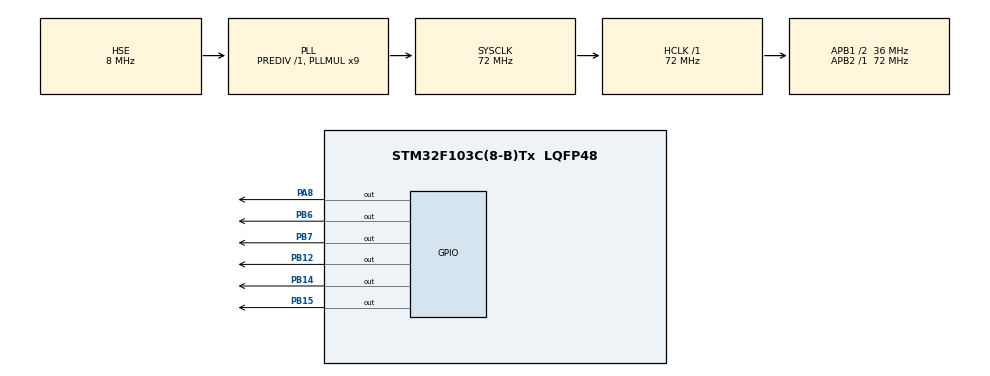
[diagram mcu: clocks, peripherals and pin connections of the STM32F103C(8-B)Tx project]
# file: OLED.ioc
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Mcu.Family=STM32F1
Mcu.Name=STM32F103C(8-B)Tx
Mcu.Package=LQFP48
NVIC.PriorityGroup=NVIC_PRIORITYGROUP_4
PA13.Mode=Serial_Wire
PA13.Signal=SYS_JTMS-SWDIO
PA14.Mode=Serial_Wire
PA14.Signal=SYS_JTCK-SWCLK
PA8.Signal=GPIO_Output
PB12.Signal=GPIO_Output
PB14.Signal=GPIO_Output
PB15.Signal=GPIO_Output
PB6.GPIO_ModeDefaultOutputPP=GPIO_MODE_OUTPUT_OD
PB6.GPIO_PuPd=GPIO_PULLUP
PB6.GPIO_Speed=GPIO_SPEED_FREQ_HIGH
PB6.Signal=GPIO_Output
PB7.GPIO_ModeDefaultOutputPP=GPIO_MODE_OUTPUT_OD
PB7.GPIO_PuPd=GPIO_PULLUP
PB7.GPIO_Speed=GPIO_SPEED_FREQ_HIGH
PB7.Signal=GPIO_Output
PD0-OSC_IN.Mode=HSE-External-Oscillator
PD0-OSC_IN.Signal=RCC_OSC_IN
PD1-OSC_OUT.Mode=HSE-External-Oscillator
PD1-OSC_OUT.Signal=RCC_OSC_OUT
ProjectManager.HeapSize=0x200
ProjectManager.StackSize=0x400
ProjectManager.TargetToolchain=CMake
RCC.AHBFreq_Value=72000000
RCC.APB1CLKDivider=RCC_HCLK_DIV2
RCC.APB1Freq_Value=36000000
RCC.APB1TimFreq_Value=72000000
RCC.APB2Freq_Value=72000000
RCC.APB2TimFreq_Value=72000000
RCC.HCLKFreq_Value=72000000
RCC.PLLMUL=RCC_PLL_MUL9
RCC.PLLSourceVirtual=RCC_PLLSOURCE_HSE
RCC.SYSCLKFreq_VALUE=72000000
RCC.SYSCLKSource=RCC_SYSCLKSOURCE_PLLCLK
RCC.USBFreq_Value=72000000
board=custom

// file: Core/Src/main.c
/* USER CODE BEGIN Header */
/**
  ******************************************************************************
  * @file           : main.c
  * @brief          : Main program body
  ******************************************************************************
  * @attention
  *
  * Copyright (c) 2026 STMicroelectronics.
  * All rights reserved.
  *
  * This software is licensed under terms that can be found in the LICENSE file
  * in the root directory of this software component.
  * If no LICENSE file comes with this software, it is provided AS-IS.
  *
  ******************************************************************************
  */
/* USER CODE END Header */
#include "main.h"
#include "gpio.h"

/* USER CODE BEGIN Includes */
#include "oled.h"
/* USER CODE END Includes */

void SystemClock_Config(void);

/* USER CODE BEGIN 0 */
// ==================== 汉字字模数据 ====================
// 月
const uint8_t HZ_Yue[] = {
0x00,0x00,0x00,0xFE,0x22,0x22,0x22,0x22,
0x22,0x22,0x22,0x22,0xFE,0x00,0x00,0x00,
0x80,0x40,0x30,0x0F,0x02,0x02,0x02,0x02,
0x02,0x02,0x42,0x82,0x7F,0x00,0x00,0x00
};

// 成
const uint8_t HZ_Cheng[] = {
0x00,0x00,0xF8,0x88,0x88,0x88,0x88,0x08,
0x08,0xFF,0x08,0x09,0x0A,0xC8,0x08,0x00,
0x80,0x60,0x1F,0x00,0x10,0x20,0x1F,0x80,
0x40,0x21,0x16,0x18,0x26,0x41,0xF8,0x00
};

// 功
const uint8_t HZ_Gong[] = {
0x08,0x08,0x08,0xF8,0x08,0x08,0x08,0x10,
0x10,0xFF,0x10,0x10,0x10,0xF0,0x00,0x00,
0x10,0x30,0x10,0x1F,0x08,0x88,0x48,0x30,
0x0E,0x01,0x40,0x80,0x40,0x3F,0x00,0x00
};

// 考
const uint8_t HZ_Kao[] = {
0x20,0x20,0x24,0x24,0x24,0x24,0xBF,0x64,
0x24,0x34,0x28,0x24,0x22,0x20,0x20,0x00,
0x10,0x08,0x04,0x02,0x01,0x0D,0x0B,0x09,
0x49,0x89,0x49,0x39,0x01,0x00,0x00,0x00
};

// 公（上岸用）
const uint8_t HZ_Gong2[] = {
0x00,0x80,0x40,0x20,0x18,0x06,0x80,0x00,
0x07,0x18,0x20,0x40,0x80,0x00,0x00,0x00,
0x01,0x00,0x20,0x70,0x28,0x26,0x21,0x20,
0x20,0x24,0x38,0x60,0x00,0x01,0x01,0x00
};

// 上
const uint8_t HZ_Shang[] = {
0x00,0x00,0x00,0x00,0x00,0x00,0xFF,0x40,
0x40,0x40,0x40,0x40,0x40,0x00,0x00,0x00,
0x40,0x40,0x40,0x40,0x40,0x40,0x7F,0x40,
0x40,0x40,0x40,0x40,0x40,0x40,0x40,0x00
};

// 岸
const uint8_t HZ_An[] = {
0x00,0x00,0xEE,0x28,0xA8,0xA8,0xA8,0xAF,
0xA8,0xA8,0xA8,0xA8,0xAE,0x20,0x00,0x00,
0x40,0x30,0x0F,0x04,0x04,0x04,0x04,0x04,
0xFF,0x04,0x04,0x04,0x04,0x04,0x04,0x00
};

// 祝
const uint8_t HZ_Zhu[] = {
0x08,0x08,0x89,0xEE,0x98,0x00,0x7E,0x42,
0xC2,0x42,0x42,0xC2,0x42,0x7E,0x00,0x00,
0x02,0x01,0x00,0xFF,0x80,0x43,0x20,0x18,
0x07,0x00,0x00,0x3F,0x40,0x40,0x78,0x00
};

// 同
const uint8_t HZ_Tong[] = {
0x00,0x00,0xFE,0x02,0x12,0x92,0x92,0x92,
0x92,0x92,0x92,0x12,0x02,0xFE,0x00,0x00,
0x00,0x00,0xFF,0x00,0x00,0x1F,0x08,0x08,
0x08,0x08,0x1F,0x40,0x80,0x7F,0x00,0x00
};

// 学
const uint8_t HZ_Xue[] = {
0x40,0x30,0x11,0x96,0x90,0x90,0x91,0x96,
0x90,0x90,0x98,0x14,0x13,0x50,0x30,0x00,
0x04,0x04,0x04,0x04,0x04,0x44,0x84,0x7E,
0x06,0x05,0x04,0x04,0x04,0x04,0x04,0x00
};

// 新
const uint8_t HZ_Xin[] = {
0x40,0x44,0x54,0x65,0xC6,0x64,0x54,0x44,
0x00,0xFC,0x44,0x44,0xC4,0x42,0x40,0x00,
0x20,0x12,0x4A,0x82,0x7F,0x02,0x0A,0x92,
0x60,0x1F,0x00,0x00,0xFF,0x00,0x00,0x00
};

// 撒
const uint8_t HZ_Sa[] = {
0x10,0x10,0xFF,0x10,0x90,0xA4,0xBF,0xA4,
0xBF,0xA4,0x40,0xB8,0x17,0xF0,0x10,0x00,
0x42,0x82,0x7F,0x01,0x00,0xFF,0x0A,0x0A,
0x8A,0xFF,0x40,0x27,0x18,0x67,0x80,0x00
};

// 花
const uint8_t HZ_Hua[] = {
0x04,0x04,0x04,0x84,0x6F,0x04,0x04,0x04,
0xE4,0x04,0x8F,0x44,0x24,0x04,0x04,0x00,
0x04,0x02,0x01,0xFF,0x00,0x10,0x08,0x04,
0x3F,0x41,0x40,0x40,0x40,0x40,0x78,0x00
};

// 呀
const uint8_t HZ_Ya[] = {
0x00,0xFC,0x04,0x04,0xFC,0x00,0xC2,0xBA,
0x82,0x82,0x82,0xFE,0x82,0x82,0x80,0x00,
0x00,0x0F,0x04,0x04,0x0F,0x20,0x10,0x08,
0x04,0x42,0x81,0x7F,0x00,0x00,0x00,0x00
};

// 昱
const uint8_t HZ_Yu[] = {
0x00,0x00,0x00,0x7F,0x49,0x49,0xC9,0x49,
0x49,0x49,0x49,0x7F,0x00,0x00,0x00,0x00,
0x80,0x84,0x84,0x94,0xA4,0xC4,0x84,0x87,
0x84,0xC4,0xA4,0x94,0x84,0x84,0x80,0x00
};

// 枚
const uint8_t HZ_Mei[] = {
0x10,0x10,0xD0,0xFF,0x90,0x10,0x40,0x20,
0xD8,0x17,0x10,0x10,0xF0,0x10,0x10,0x00,
0x04,0x03,0x00,0xFF,0x00,0x03,0x80,0x40,
0x21,0x16,0x08,0x16,0x21,0x40,0x80,0x00
};

// 研
const uint8_t HZ_Yan[] = {
0x04,0x84,0xE4,0x5C,0x44,0xC4,0x80,0x82,
0xFE,0x82,0x82,0x82,0xFE,0x82,0x80,0x00,
0x02,0x01,0x7F,0x10,0x10,0x3F,0x80,0x60,
0x1F,0x00,0x00,0x00,0xFF,0x00,0x00,0x00
};
/* USER CODE END 0 */

int main(void)
{

  /* MCU Configuration--------------------------------------------------------*/

  /* Reset of all peripherals, Initializes the Flash interface and the Systick. */
  HAL_Init();

  /* Configure the system clock */
  SystemClock_Config();

  /* Initialize all configured peripherals */
  MX_GPIO_Init();
  /* USER CODE BEGIN 2 */
  OLED_Init();
  OLED_Clear();

  // 第一行：祝新月同学
  OLED_ShowHZ16x16(1, 3, HZ_Zhu);
  OLED_ShowHZ16x16(1, 4, HZ_Yu);
  OLED_ShowHZ16x16(1, 5, HZ_Mei);
  OLED_ShowHZ16x16(1, 6, HZ_Tong);
  OLED_ShowHZ16x16(1, 7, HZ_Xue);

  // 第二行：考公成功上岸
  OLED_ShowHZ16x16(2, 2, HZ_Kao);
  OLED_ShowHZ16x16(2, 3, HZ_Yan);
  OLED_ShowHZ16x16(2, 4, HZ_Cheng);
  OLED_ShowHZ16x16(2, 5, HZ_Gong);
  OLED_ShowHZ16x16(2, 6, HZ_Shang);
  OLED_ShowHZ16x16(2, 7, HZ_An);
  OLED_ShowHZ16x16(2, 8, HZ_Ya);

// 第四行：撒花
  OLED_ShowHZ16x16(4, 3, HZ_Sa);
  OLED_ShowHZ16x16(4, 6, HZ_Hua);
  /* USER CODE END 2 */

  /* Infinite loop */
  /* USER CODE BEGIN WHILE */
  while (1)
  {
    HAL_GPIO_WritePin(GPIOB, GPIO_PIN_14, GPIO_PIN_RESET);//红灯亮
    //蓝绿灯灭
    HAL_GPIO_WritePin(GPIOB, GPIO_PIN_15, GPIO_PIN_SET);
    HAL_GPIO_WritePin(GPIOA, GPIO_PIN_8, GPIO_PIN_SET);
    HAL_GPIO_WritePin(GPIOB, GPIO_PIN_12, GPIO_PIN_SET);
    //延时0.5s
    HAL_Delay(500);

    HAL_GPIO_WritePin(GPIOB, GPIO_PIN_15, GPIO_PIN_RESET);//绿灯亮
    //红蓝灯灭
    HAL_GPIO_WritePin(GPIOB, GPIO_PIN_14, GPIO_PIN_SET);
    HAL_GPIO_WritePin(GPIOA, GPIO_PIN_8, GPIO_PIN_SET);

    HAL_Delay(500);

    HAL_GPIO_WritePin(GPIOA, GPIO_PIN_8, GPIO_PIN_RESET);//蓝灯亮
    //红绿灯灭
    HAL_GPIO_WritePin(GPIOB, GPIO_PIN_14, GPIO_PIN_SET);
    HAL_GPIO_WritePin(GPIOB, GPIO_PIN_15, GPIO_PIN_SET);
    HAL_GPIO_WritePin(GPIOB, GPIO_PIN_12, GPIO_PIN_RESET);

    HAL_Delay(500);
    /* USER CODE END WHILE */

  }
}

void SystemClock_Config(void)
{
  RCC_OscInitTypeDef RCC_OscInitStruct = {0};
  RCC_ClkInitTypeDef RCC_ClkInitStruct = {0};

  /** Initializes the RCC Oscillators according to the specified parameters
  * in the RCC_OscInitTypeDef structure.
  */
  RCC_OscInitStruct.OscillatorType = RCC_OSCILLATORTYPE_HSE;
  RCC_OscInitStruct.HSEState = RCC_HSE_ON;
  RCC_OscInitStruct.HSEPredivValue = RCC_HSE_PREDIV_DIV1;
  RCC_OscInitStruct.HSIState = RCC_HSI_ON;
  RCC_OscInitStruct.PLL.PLLState = RCC_PLL_ON;
  RCC_OscInitStruct.PLL.PLLSource = RCC_PLLSOURCE_HSE;
  RCC_OscInitStruct.PLL.PLLMUL = RCC_PLL_MUL9;
  if (HAL_RCC_OscConfig(&RCC_OscInitStruct) != HAL_OK)
  {
    Error_Handler();
  }

  /** Initializes the CPU, AHB and APB buses clocks
  */
  RCC_ClkInitStruct.ClockType = RCC_CLOCKTYPE_HCLK|RCC_CLOCKTYPE_SYSCLK
                              |RCC_CLOCKTYPE_PCLK1|RCC_CLOCKTYPE_PCLK2;
  RCC_ClkInitStruct.SYSCLKSource = RCC_SYSCLKSOURCE_PLLCLK;
  RCC_ClkInitStruct.AHBCLKDivider = RCC_SYSCLK_DIV1;
  RCC_ClkInitStruct.APB1CLKDivider = RCC_HCLK_DIV2;
  RCC_ClkInitStruct.APB2CLKDivider = RCC_HCLK_DIV1;

  if (HAL_RCC_ClockConfig(&RCC_ClkInitStruct, FLASH_LATENCY_2) != HAL_OK)
  {
    Error_Handler();
  }
}

void Error_Handler(void)
{
  __disable_irq();
  while (1)
  {
  }
}
